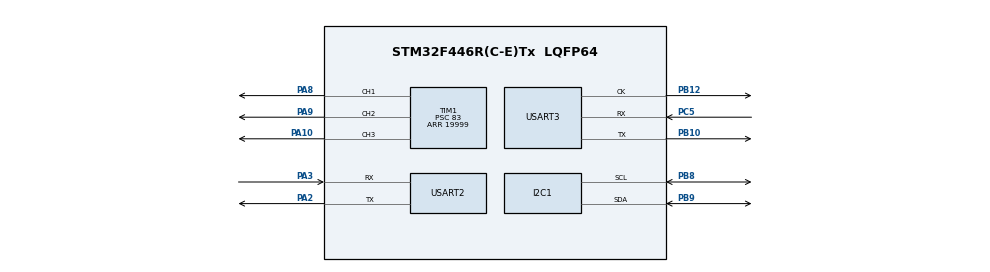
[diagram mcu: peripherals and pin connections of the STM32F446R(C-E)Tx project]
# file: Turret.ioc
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I2C1.I2C_Mode=I2C_Fast
Mcu.Family=STM32F4
Mcu.Name=STM32F446R(C-E)Tx
Mcu.Package=LQFP64
NVIC.PriorityGroup=NVIC_PRIORITYGROUP_0
PA10.Signal=S_TIM1_CH3
PA13.Mode=Serial_Wire
PA13.Signal=SYS_JTMS-SWDIO
PA14.Mode=Serial_Wire
PA14.Signal=SYS_JTCK-SWCLK
PA2.Mode=Asynchronous
PA2.Signal=USART2_TX
PA3.Mode=Asynchronous
PA3.Signal=USART2_RX
PA8.Signal=S_TIM1_CH1
PA9.Signal=S_TIM1_CH2
PB10.Mode=Synchronous
PB10.Signal=USART3_TX
PB12.Mode=Synchronous
PB12.Signal=USART3_CK
PB8.Mode=I2C
PB8.Signal=I2C1_SCL
PB9.Mode=I2C
PB9.Signal=I2C1_SDA
PC14-OSC32_IN.Mode=LSE-External-Oscillator
PC14-OSC32_IN.Signal=RCC_OSC32_IN
PC15-OSC32_OUT.Mode=LSE-External-Oscillator
PC15-OSC32_OUT.Signal=RCC_OSC32_OUT
PC5.Mode=Synchronous
PC5.Signal=USART3_RX
PH0-OSC_IN.Mode=HSE-External-Oscillator
PH0-OSC_IN.Signal=RCC_OSC_IN
PH1-OSC_OUT.Mode=HSE-External-Oscillator
PH1-OSC_OUT.Signal=RCC_OSC_OUT
ProjectManager.HeapSize=0x200
ProjectManager.StackSize=0x400
ProjectManager.TargetToolchain=STM32CubeIDE
RCC.AHBFreq_Value=84000000
RCC.APB1CLKDivider=RCC_HCLK_DIV2
RCC.APB1Freq_Value=42000000
RCC.APB1TimFreq_Value=84000000
RCC.APB2Freq_Value=84000000
RCC.APB2TimFreq_Value=84000000
RCC.CortexFreq_Value=84000000
RCC.FLatency-AdvancedSettings=FLASH_LATENCY_2
RCC.HCLKFreq_Value=84000000
RCC.HSE_VALUE=8000000
RCC.HSI_VALUE=16000000
RCC.PLLN=336
RCC.PLLP=RCC_PLLP_DIV4
RCC.SYSCLKFreq_VALUE=84000000
RCC.SYSCLKSource=RCC_SYSCLKSOURCE_PLLCLK
RCC.USBFreq_Value=168000000
RCC.VCOOutputFreq_Value=336000000
SH.S_TIM1_CH1.0=TIM1_CH1,PWM Generation1 CH1
SH.S_TIM1_CH2.0=TIM1_CH2,PWM Generation2 CH2
SH.S_TIM1_CH3.0=TIM1_CH3,PWM Generation3 CH3
TIM1.Channel-PWM\ Generation1\ CH1=TIM_CHANNEL_1
TIM1.Channel-PWM\ Generation2\ CH2=TIM_CHANNEL_2
TIM1.Channel-PWM\ Generation3\ CH3=TIM_CHANNEL_3
TIM1.Period=19999
TIM1.Prescaler=83
USART2.VirtualMode=VM_ASYNC
USART3.VirtualMode=VM_SYNC
board=NUCLEO-F446RE

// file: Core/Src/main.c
/* USER CODE BEGIN Header */
/**
 ******************************************************************************
 * @file           : main.c
 * @brief          : Main program body
 ******************************************************************************
 * @attention
 *
 * Copyright (c) 2026 STMicroelectronics.
 * All rights reserved.
 *
 * This software is licensed under terms that can be found in the LICENSE file
 * in the root directory of this software component.
 * If no LICENSE file comes with this software, it is provided AS-IS.
 *
 ******************************************************************************
 */
/* USER CODE END Header */
#include "main.h"
#include "i2c.h"
#include "tim.h"
#include "usart.h"
#include "gpio.h"

/* USER CODE BEGIN Includes */
#include <stdbool.h>
#include <stdlib.h>
#include "VL53L0X.h"
#include "Servo_Driver.h"
/* USER CODE END Includes */

/* USER CODE BEGIN PTD */

typedef enum {
	STATE_SEARCHING = 0,
	STATE_TRACKING,
	STATE_RANGING,
	STATE_ENGAGING,
	STATE_COOLDOWN
} TurretState_t;
/* USER CODE END PTD */

/* USER CODE BEGIN PD */

#define DEBUG 1

// ── Ranging / engagement (placeholders — need physical calibration) ──
#define ENGAGE_RANGE_MM           1500
#define TOF_POLL_INTERVAL_MS      100

// ── Search sweep (placeholders — need physical calibration) ──
#define SEARCH_SWEEP_SPEED        90
#define SEARCH_SWEEP_DURATION_MS  100

// ── Tracking (placeholders — not yet tuned, logic not yet implemented) ──
#define TRACK_DEADZONE_PX         20
#define TRACK_PAN_SPEED_MAX       60
#define CAM_LOST_TIMEOUT_MS       500

// ── Firing (placeholders) ──
#define FIRE_DUTY_PERCENT         100
#define ENGAGE_DURATION_MS        500
#define COOLDOWN_DURATION_MS      2000
/* USER CODE END PD */

/* USER CODE BEGIN PV */

// ── VL53L0X ──
statInfo_t_VL53L0X tofData;
uint16_t distance_mm = 0;
uint32_t lastTofTick = 0;

// ── FSM ──
TurretState_t current_state = STATE_SEARCHING;
uint32_t state_enter_tick = 0;

// ── Search sweep (positional pan, was continuous-rotation) ──
#define SEARCH_PAN_STEP_DEG          2
#define SEARCH_PAN_STEP_INTERVAL_MS  5
// ── Search sweep ──
int8_t search_direction = 1;
uint32_t search_last_step_tick = 0;
int16_t current_pan_angle = PAN_ANGLE_CENTER_DEG;
// ── CAM lock data (stub until ESP32-CAM UART link is wired up) ──
volatile bool cam_lock = false;
volatile int16_t cam_x_offset = 0;
volatile int16_t cam_y_offset = 0;
uint32_t last_cam_update_tick = 0;
/* USER CODE END PV */

void SystemClock_Config(void);
/* USER CODE BEGIN PFP */

void FSM_Enter(TurretState_t new_state);
void TOF_Update(void);
bool Cam_GetLock(int16_t *x_offset, int16_t *y_offset);
void State_Searching(void);
void State_Tracking(void);
void State_Ranging(void);
void State_Engaging(void);
void State_Cooldown(void);
/* USER CODE END PFP */

/* USER CODE BEGIN 0 */
#ifdef __cplusplus
extern "C" {
#endif

#ifdef __GNUC__
#define PUTCHAR_PROTOTYPE int __io_putchar(int ch)
#else
#define PUTCHAR_PROTOTYPE int fputc(int ch, FILE *f)
#endif

	PUTCHAR_PROTOTYPE {
		HAL_UART_Transmit(&huart2, (uint8_t*) &ch, 1, HAL_MAX_DELAY);
		return ch;
	}

#ifdef __cplusplus
}
#endif

#if DEBUG
#define DBG(...) printf(__VA_ARGS__)
#else
#define DBG(...)
#endif

	/* ── VL53L0X: non-blocking poll, runs regardless of state ── */
	void TOF_Update(void) {
		if ((HAL_GetTick() - lastTofTick) >= TOF_POLL_INTERVAL_MS) {
			lastTofTick = HAL_GetTick();
			distance_mm = readRangeSingleMillimeters(&tofData);
		}
	}

	/* ── ESP32-CAM lock read — STUB.
	 * TODO: replace with real UART parse of "<lock>,<x_offset>,<y_offset>\n"
	 * once the second UART peripheral is selected and configured in CubeMX. */
	bool Cam_GetLock(int16_t *x_offset, int16_t *y_offset) {
		(void) x_offset;
		(void) y_offset;
		return false;
	}

	/* ── FSM transition handler — runs entry actions once per state change ── */
	void FSM_Enter(TurretState_t new_state) {
		current_state = new_state;
		state_enter_tick = HAL_GetTick();

		switch (new_state) {
		case STATE_SEARCHING:
			DBG("[FSM] -> SEARCHING\r\n");
			search_direction = 1;
			search_last_step_tick = HAL_GetTick();
			break;

		case STATE_TRACKING:
			DBG("[FSM] -> TRACKING\r\n");
			last_cam_update_tick = HAL_GetTick();
			break;

		case STATE_RANGING:
			DBG("[FSM] -> RANGING\r\n");
			// Positional pan holds its angle on its own, nothing to stop
			break;
		case STATE_ENGAGING:
			DBG("[FSM] -> ENGAGING\r\n");
			Fire_setDuty(FIRE_DUTY_PERCENT);
			break;

		case STATE_COOLDOWN:
			DBG("[FSM] -> COOLDOWN\r\n");
			Fire_stop();
			break;
		}
	}

	/* ── SEARCHING: sweep pan back and forth, watch for a CAM lock ── */
	void State_Searching(void) {
		if ((HAL_GetTick() - search_last_step_tick)
				>= SEARCH_PAN_STEP_INTERVAL_MS) {
			search_last_step_tick = HAL_GetTick();

			current_pan_angle += SEARCH_PAN_STEP_DEG * search_direction;

			if (current_pan_angle >= PAN_ANGLE_MAX_DEG) {
				current_pan_angle = PAN_ANGLE_MAX_DEG;
				search_direction = -1;
			} else if (current_pan_angle <= PAN_ANGLE_MIN_DEG) {
				current_pan_angle = PAN_ANGLE_MIN_DEG;
				search_direction = 1;
			}

			Servo_pan_setAngle((uint8_t) current_pan_angle);
		}

		int16_t x_off, y_off;
		if (Cam_GetLock(&x_off, &y_off)) {
			cam_lock = true;
			cam_x_offset = x_off;
			cam_y_offset = y_off;
			FSM_Enter(STATE_TRACKING);
		}
	}
	/* ── TRACKING: TODO — pan/tilt correction toward target not yet implemented ── */
	void State_Tracking(void) {
		int16_t x_off, y_off;
		if (Cam_GetLock(&x_off, &y_off)) {
			cam_x_offset = x_off;
			cam_y_offset = y_off;
			last_cam_update_tick = HAL_GetTick();
		}

		if ((HAL_GetTick() - last_cam_update_tick) >= CAM_LOST_TIMEOUT_MS) {
			DBG("[TRACK] Lock lost\r\n");
			FSM_Enter(STATE_SEARCHING);
			return;
		}

		// TODO: proportional pan correction using cam_x_offset, TRACK_DEADZONE_PX, TRACK_PAN_SPEED_MAX
		// TODO: tilt Y-axis correction using cam_y_offset

		if (abs(cam_x_offset) < TRACK_DEADZONE_PX) {
			FSM_Enter(STATE_RANGING);
		}
	}

	/* ── RANGING: check distance against engage threshold ── */
	void State_Ranging(void) {
		if (distance_mm < ENGAGE_RANGE_MM) {
			FSM_Enter(STATE_ENGAGING);
		} else {
			FSM_Enter(STATE_TRACKING);
		}
	}

	/* ── ENGAGING: fire for a fixed duration, then cool down ── */
	void State_Engaging(void) {
		if ((HAL_GetTick() - state_enter_tick) >= ENGAGE_DURATION_MS) {
			FSM_Enter(STATE_COOLDOWN);
		}
	}

	/* ── COOLDOWN: pause before resuming search ── */
	void State_Cooldown(void) {
		if ((HAL_GetTick() - state_enter_tick) >= COOLDOWN_DURATION_MS) {
			FSM_Enter(STATE_SEARCHING);
		}
	}
	/* USER CODE END 0 */

	/**
	 *
	 * @brief  The application entry point.
	 * @retval int
	 */
	int main(void) {

		/* MCU Configuration--------------------------------------------------------*/

		/* Reset of all peripherals, Initializes the Flash interface and the Systick. */
		HAL_Init();

		/* Configure the system clock */
		SystemClock_Config();

		/* Initialize all configured peripherals */
		MX_GPIO_Init();
		MX_I2C1_Init();
		MX_USART2_UART_Init();
		MX_TIM1_Init();
		MX_USART3_Init();
		/* USER CODE BEGIN 2 */
		setvbuf(stdout, NULL, _IONBF, 0);
		printf("\033[2J\033[H");
		printf("=== Anti-Drone Turret Boot ===\r\n");

		// ── VL53L0X Init ──
//		printf("[TOF] Initializing VL53L0X...\r\n");
//		setTimeout(200); // ms — bail out of any driver-internal poll loop instead of spinning forever
//		if (initVL53L0X(1, &hi2c1) != 1) {
//			printf("[TOF] Init FAILED\r\n");
//		} else {
//			setMeasurementTimingBudget(33 * 1000UL);
//			printf("[TOF] Ready\r\n");
//		}

		// ── Servo PWM Start ──
		Servo_init();
//		// ── Servo PWM Start ──
//		Servo_init();

		// ── Startup self-test: sweep tilt through full range ──
		DBG("[INIT] Tilt self-test sweep\r\n");
		DBG("0 degree\r\n");
		Servo_pan_setAngle(PAN_ANGLE_MIN_DEG);
		HAL_Delay(3000);
		DBG("90 degree\r\n");
		Servo_pan_setAngle(90);
		HAL_Delay(3000);
		DBG("180 degree\r\n");
		Servo_pan_setAngle(PAN_ANGLE_MAX_DEG);
		HAL_Delay(10000);

		// ── FSM entry ──
//		FSM_Enter(STATE_SEARCHING);

//		printf("=== Running ===\r\n");
		/* USER CODE END 2 */

		/* Infinite loop */
		/* USER CODE BEGIN WHILE */
		while (1) {
			//TODO Add limit switch handling
			//TODO Add second UART + real Cam_GetLock() implementation
			//TODO Calibrate ENGAGE_RANGE_MM, SEARCH_SWEEP_DURATION_MS, TRACK_PAN_SPEED_MAX, TRACK_DEADZONE_PX

//			TOF_Update();
//			State_Searching();
//
//			switch (current_state) {
//			case STATE_SEARCHING:
//				break;
//			case STATE_TRACKING:
//				State_Tracking();
//				break;
//			case STATE_RANGING:
//				State_Ranging();
//				break;
//			case STATE_ENGAGING:
//				State_Engaging();
//				break;
//			case STATE_COOLDOWN:
//				State_Cooldown();
//				break;
//			}

			/* USER CODE END WHILE */

		}
	}

	/**
	 * @brief System Clock Configuration
	 * @retval None
	 */
	void SystemClock_Config(void) {
		RCC_OscInitTypeDef RCC_OscInitStruct = { 0 };
		RCC_ClkInitTypeDef RCC_ClkInitStruct = { 0 };

		/** Configure the main internal regulator output voltage
		 */
		__HAL_RCC_PWR_CLK_ENABLE();
		__HAL_PWR_VOLTAGESCALING_CONFIG(PWR_REGULATOR_VOLTAGE_SCALE3);

		/** Initializes the RCC Oscillators according to the specified parameters
		 * in the RCC_OscInitTypeDef structure.
		 */
		RCC_OscInitStruct.OscillatorType = RCC_OSCILLATORTYPE_HSI;
		RCC_OscInitStruct.HSIState = RCC_HSI_ON;
		RCC_OscInitStruct.HSICalibrationValue = RCC_HSICALIBRATION_DEFAULT;
		RCC_OscInitStruct.PLL.PLLState = RCC_PLL_ON;
		RCC_OscInitStruct.PLL.PLLSource = RCC_PLLSOURCE_HSI;
		RCC_OscInitStruct.PLL.PLLM = 16;
		RCC_OscInitStruct.PLL.PLLN = 336;
		RCC_OscInitStruct.PLL.PLLP = RCC_PLLP_DIV4;
		RCC_OscInitStruct.PLL.PLLQ = 2;
		RCC_OscInitStruct.PLL.PLLR = 2;
		if (HAL_RCC_OscConfig(&RCC_OscInitStruct) != HAL_OK) {
			Error_Handler();
		}

		/** Initializes the CPU, AHB and APB buses clocks
		 */
		RCC_ClkInitStruct.ClockType = RCC_CLOCKTYPE_HCLK | RCC_CLOCKTYPE_SYSCLK
				| RCC_CLOCKTYPE_PCLK1 | RCC_CLOCKTYPE_PCLK2;
		RCC_ClkInitStruct.SYSCLKSource = RCC_SYSCLKSOURCE_PLLCLK;
		RCC_ClkInitStruct.AHBCLKDivider = RCC_SYSCLK_DIV1;
		RCC_ClkInitStruct.APB1CLKDivider = RCC_HCLK_DIV2;
		RCC_ClkInitStruct.APB2CLKDivider = RCC_HCLK_DIV1;

		if (HAL_RCC_ClockConfig(&RCC_ClkInitStruct, FLASH_LATENCY_2)
				!= HAL_OK) {
			Error_Handler();
		}
	}

	/**
	 * @brief  This function is executed in case of error occurrence.
	 * @retval None
	 */
	void Error_Handler(void) {
		__disable_irq();
		while (1) {
		}
	}
